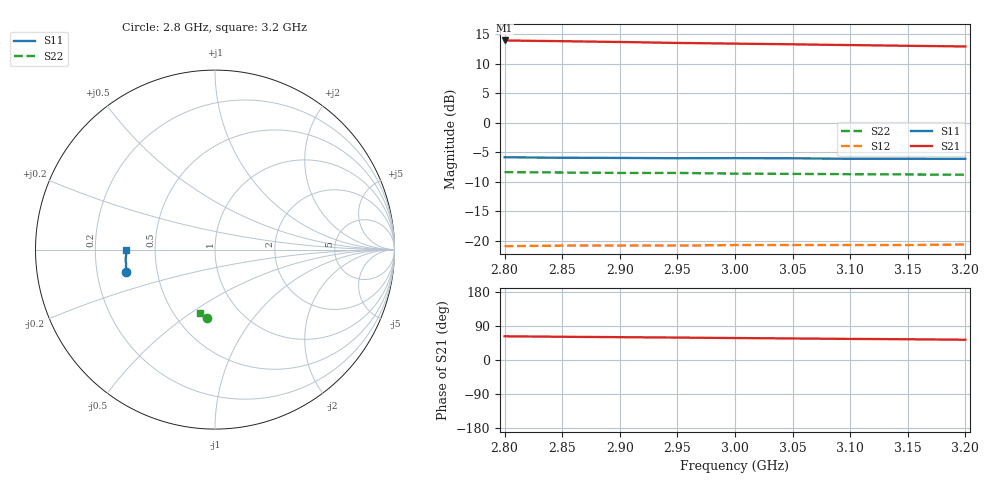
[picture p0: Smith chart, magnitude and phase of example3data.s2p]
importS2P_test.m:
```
%%%%~~~~~~~~~~~~~~~~~~~~~~~~~~~~~~~~~~~~~~~~~~~~~~~~~~~~~~~~~~
%%%% Test functionality of script
%%%%
%%%% curtis
%%%% 
%%%% Last Edited: 8/19/12
%%%% Octave tested: 9/1/13
%%%% Matlab tested: 
%%%%~~~~~~~~~~~~~~~~~~~~~~~~~~~~~~~~~~~~~~~~~~~~~~~~~~~~~~~~~~
function importS2P_test()

% Inputs
% s2p filename, frequency in GHz
filename = 'example3data.s2p';
folder = './';

% Import s-parameter data from .s2p file
sparams = importS2P(filename);
[sparams,dataset2,sNp_format_info,comments] = importS2P(filename);
[sparams,dataset2,sNp_format_info,comments] = importS2P(folder,filename);

% Print results to be checked
fprintf('\n');
fprintf('...Verify what is printed matches what is in the file\n');
fprintf(['...Printing data from the file [ ',filename,' ]\n']);
comments
sNp_format_info
sparams
dataset2
fprintf('\n');

end%function
```
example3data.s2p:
! FILENAME:  example2data.S2P  VERSION: 14.1
! PART NUMBER:  Test123  DATE: 10/03
! BIAS CONDITIONS: VC = 1.000 V, IC = 5.000 MA
# GHZ S MA R 50
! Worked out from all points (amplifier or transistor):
!   9 points, 2.8 GHz to 3.2 GHz, reference 50 ohm
!   highest |S21| = 14.0 dB at 2.8 GHz (marker M1)
!   |S21| within 3 dB of that: start of sweep to end of sweep
!   unconditionally stable (mu >= 1): nowhere
!   at 2.85 GHz: K = 0.75, MSG = 17.3 dB, |S12| = -20.8 dB
!   at 3 GHz: K = 0.79, MSG = 17.1 dB, |S12| = -20.7 dB
!   at 3.2 GHz: K = 0.83, MSG = 16.8 dB, |S12| = -20.6 dB
2.8  0.51 -166.0  4.992 62.5  0.09 13.3  0.382 -96.8
2.85  0.506 -167.9  4.92 61.4  0.091 13.0  0.379 -97.9
2.9  0.504 -169.7  4.846 60.2  0.091 12.7  0.376 -98.7
2.95  0.501 -171.2  4.756 59.2  0.091 12.1  0.376 -99.4
3  0.502 -172.6  4.693 57.9  0.092 11.5  0.371 -100.5
3.05  0.5 -174.4  4.631 56.8  0.092 11.2  0.369 -101.3
3.1  0.496 -176.5  4.561 55.7  0.092 10.8  0.367 -101.8
3.15  0.496 -177.7  4.499 54.7  0.092 10.4  0.365 -102.8
3.2  0.495 -179.5  4.438 53.5  0.093 9.9  0.363 -103.5
